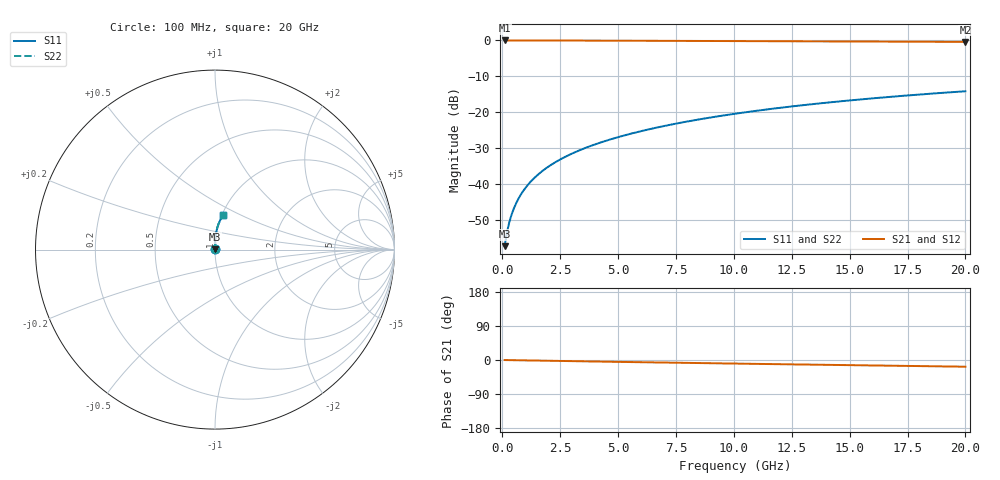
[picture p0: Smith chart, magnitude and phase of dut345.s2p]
! Touchstone file exported from HFSS 2024.1.0
!  File:  C:/UserFiles/LocalFiles/RDL_TSV_Batchsim/temp_RDL_bottom_345_1779612126.aedt
!  Generated:  04:44:55 PM May 24, 2026
!  Design:  RDL_bottom
!  Project:  temp_RDL_bottom_345_1779612126
!  Setup:  Setup1
!  Solution:  Sweep
! Variables:
!  dtsv = 10.80580581um
!  hbump = 3um
!  htsv = 83.87um
!  ldown = 214.47um
!  lrdl = 100um
!  p = 40
!  p1 = 52.68um
!  rhole = 1um
!  t = 450um
!  tdown = 4.27um
!  trdl = 3.915915916um
!  wdown = 21.94um
!  wrdl = 20um
# GHz S MA R 50.000000
! Terminal data exported
! Port[1] = RDL1_T1
! Port[2] = RDL1_T2
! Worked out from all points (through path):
!   200 points, 100 MHz to 20 GHz, reference 50 ohm
!   highest |S21| = -0.01 dB at 100 MHz (marker M1); lowest = -0.4 dB at 20 GHz (marker M2)
!   group delay of S21, straight-line fit = 2.43 ps
!   lowest |S11| = -57.3 dB at 100 MHz (marker M3), VSWR 1.00, Z = 50.1 + j0.0941 ohm
!   |S11| at or under -10 dB: start of sweep to end of sweep
!   |S22| runs from -57.3 to -14.2 dB; largest |S21 - S12| = 7.2e-15
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0.1  0.001364 43.5  0.999 -0.1  0.999 -0.1  0.001364 43.5
! Gamma 0 0 0 0
! Port Impedance 50 0 50 0
0.2  0.002113 60.6  0.9989 -0.2  0.9989 -0.2  0.002113 60.6
0.3  0.002921 68.3  0.9989 -0.3  0.9989 -0.3  0.002921 68.3
0.4  0.003744 72.8  0.9988 -0.4  0.9988 -0.4  0.003744 72.8
0.5  0.004577 75.8  0.9988 -0.5  0.9988 -0.5  0.004577 75.8
0.6  0.005419 78.0  0.9987 -0.6  0.9987 -0.6  0.005419 78.0
0.8  0.007119 80.8  0.9986 -0.8  0.9986 -0.8  0.007119 80.8
1.1  0.009698 83.3  0.9984 -1.1  0.9984 -1.1  0.009698 83.3
1.5  0.01317 85.2  0.998 -1.5  0.998 -1.5  0.01317 85.2
1.8  0.0158 86.0  0.9977 -1.8  0.9977 -1.8  0.0158 86.0
2.1  0.01844 86.7  0.9974 -2.1  0.9974 -2.1  0.01844 86.7
2.7  0.02377 87.5  0.9965 -2.7  0.9965 -2.7  0.02377 87.5
3.5  0.03101 88.2  0.9951 -3.5  0.9951 -3.5  0.03101 88.2
4.2  0.03746 88.5  0.9937 -4.2  0.9937 -4.2  0.03746 88.5
5  0.04498 88.6  0.9919 -5.0  0.9919 -5.0  0.04498 88.6
5.9  0.05362 88.5  0.9898 -5.8  0.9898 -5.8  0.05362 88.5
6.8  0.06244 88.2  0.9875 -6.6  0.9875 -6.6  0.06244 88.2
8.4  0.07845 87.4  0.9835 -8.0  0.9835 -8.0  0.07845 87.4
10.1  0.09578 86.2  0.9792 -9.5  0.9792 -9.5  0.09578 86.2
13.4  0.1297 83.4  0.9709 -12.3  0.9709 -12.3  0.1297 83.4
16.7  0.1632 80.3  0.9626 -15.0  0.9626 -15.0  0.1632 80.3
20  0.196 77.2  0.954 -17.7  0.954 -17.7  0.196 77.2
